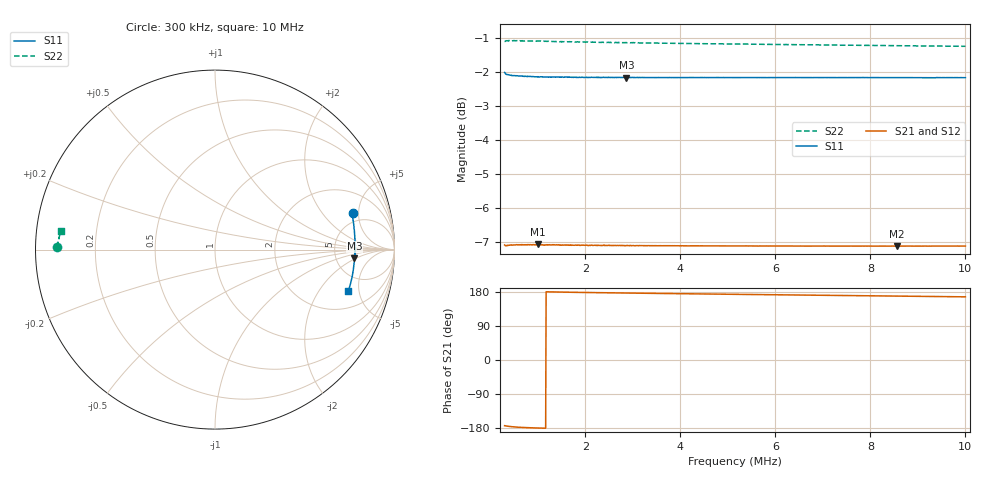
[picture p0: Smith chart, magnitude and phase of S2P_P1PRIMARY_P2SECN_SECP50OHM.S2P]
!Keysight Technologies,E5061B,MY49709559,B.05.06
!Date: Thu Apr 07 18:55:39 2022
!Data & Calibration Information:
!Freq	S11:SOLT2(ON)	S21:SOLT2(ON)	S12:SOLT2(ON)	S22:SOLT2(ON)
# Hz S RI R 50
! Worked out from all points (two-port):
!   1000 points, 300 kHz to 10 MHz, reference 50 ohm
!   highest |S21| = -7.08 dB at 999.1 kHz (marker M1); lowest = -7.1 dB at 8.553 MHz (marker M2)
!   |S21| within 3 dB of the highest: start of sweep to end of sweep
!   lowest |S11| = -2.2 dB at 2.863 MHz (marker M3), VSWR 8.01, Z = 378 - j92.3 ohm
!   |S11| at or under -10 dB: nowhere
!   |S22| runs from -1.3 to -1.1 dB; largest |S21 - S12| = 0.0096
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300000  0.7662 0.2019  -0.4391 -0.0515  -0.4308 -0.0466  -0.8795 0.0164
329129.1  0.7668 0.1813  -0.4389 -0.0456  -0.4345 -0.0427  -0.8812 0.0148
397097.1  0.7713 0.1466  -0.4402 -0.0362  -0.438 -0.0343  -0.8827 0.0142
435935.9  0.7734 0.1316  -0.4407 -0.032  -0.4382 -0.0302  -0.8814 0.0142
494194.2  0.776 0.1126  -0.4414 -0.0269  -0.4393 -0.0258  -0.8826 0.0146
562162.2  0.7777 0.0961  -0.4419 -0.0221  -0.4398 -0.0205  -0.8825 0.0154
649549.6  0.779 0.0787  -0.4423 -0.017  -0.4398 -0.0163  -0.8817 0.0154
746646.6  0.7794 0.0637  -0.4421 -0.0125  -0.4403 -0.0126  -0.8816 0.015
863163.2  0.7796 0.0496  -0.4422 -0.00851  -0.4404 -0.00814  -0.8811 0.0166
999099.1  0.7802 0.0362  -0.4428 -0.00419  -0.4406 -0.00425  -0.8811 0.0179
1212713  0.7799 0.0201  -0.4423 0.00119  -0.4403 0.000527  -0.8803 0.0199
1474875  0.7803 0.00422  -0.4421 0.00638  -0.4399 0.00542  -0.8794 0.0222
1678779  0.7796 -0.00588  -0.4415 0.00964  -0.4401 0.00929  -0.8787 0.0252
1921522  0.7791 -0.0152  -0.4415 0.0126  -0.4395 0.0133  -0.8777 0.028
2329329  0.7785 -0.0309  -0.4408 0.0186  -0.4391 0.0186  -0.8765 0.0318
2863363  0.7766 -0.0482  -0.4403 0.0252  -0.4387 0.0251  -0.8755 0.037
3543043  0.7757 -0.0687  -0.4397 0.0332  -0.4379 0.0332  -0.8738 0.0437
5154855  0.7705 -0.1128  -0.4377 0.0513  -0.4356 0.0506  -0.8702 0.0592
6766667  0.7634 -0.1538  -0.4351 0.0684  -0.4331 0.0675  -0.8668 0.0748
8388188  0.7542 -0.1939  -0.4321 0.0852  -0.4301 0.0838  -0.8631 0.0899
8553253  0.753 -0.1978  -0.4316 0.0869  -0.4297 0.0856  -0.8625 0.0917
1e7  0.7429 -0.2323  -0.4285 0.1016  -0.4266 0.0999  -0.8593 0.105
